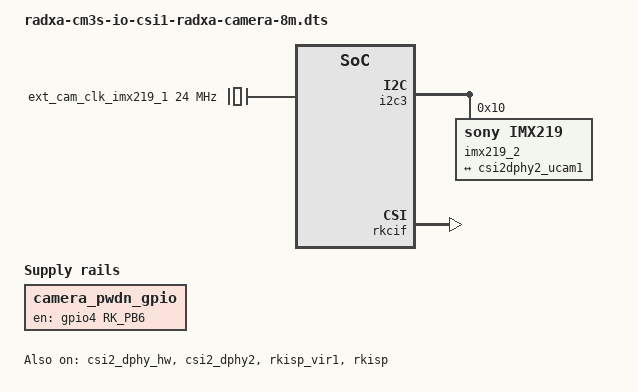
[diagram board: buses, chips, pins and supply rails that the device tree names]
/dts-v1/;
/plugin/;

#include <dt-bindings/gpio/gpio.h>
#include <dt-bindings/pinctrl/rockchip.h>

/ {
	metadata {
		title = "Enable Radxa Camera 8M 219 on CSI1";
		compatible = "radxa,cm3s-io", "radxa,radxa-cm3-sodimm-io";
		category = "camera";
		exclusive = "csi2_dphy2";
		description = "Enable Radxa Camera 8M 219 on CSI1.";
	};
};

&{/} {
	ext_cam_clk_imx219_1: ext-cam-clk-imx219-1 {
		status = "okay";
		compatible = "fixed-clock";
		clock-frequency = <24000000>;
		clock-output-names = "ext_cam_clk_imx219_1";
		#clock-cells = <0>;
	};

	camera_pwdn_gpio: camera-pwdn-gpio {
		status = "okay";
		compatible = "regulator-fixed";
		regulator-name = "camera_pwdn_gpio";
		regulator-always-on;
		regulator-boot-on;
		enable-active-high;
		gpio = <&gpio4 RK_PB6 GPIO_ACTIVE_HIGH>;
	};
};

&i2c3 {
	status = "okay";
	#address-cells = <1>;
				#size-cells = <0>;

	imx219_2: imx219@10 {
		status = "okay";
		compatible = "sony,imx219";
		reg = <0x10>;
		clocks = <&ext_cam_clk_imx219_1>;
		clock-names = "ext_cam_clk_imx219_1";
		rockchip,camera-module-index = <1>;
		rockchip,camera-module-facing = "back";
		rockchip,camera-module-name = "RADXA-CAMERA-8M";
		rockchip,camera-module-lens-name = "default";

		port {
			imx219_2_out: endpoint {
				remote-endpoint = <&csi2dphy2_ucam1>;
				data-lanes = <1 2>;
			};
		};
	};
};

&csi2_dphy_hw {
	status = "okay";
};

&csi2_dphy2 {
	status = "okay";

	ports {
		#address-cells = <1>;
		#size-cells = <0>;

		port@0 {
			reg = <0>;
			#address-cells = <1>;
			#size-cells = <0>;

			csi2dphy2_ucam1: endpoint@1 {
				reg = <1>;
				remote-endpoint = <&imx219_2_out>;
				data-lanes = <1 2>;
			};
		};

		port@1 {
			reg = <1>;
			#address-cells = <1>;
			#size-cells = <0>;

			csi2dphy2_out: endpoint@1 {
				reg = <1>;
				remote-endpoint = <&isp1_in>;
			};
		};
	};
};

&rkisp_vir1 {
	status = "okay";
	#address-cells = <1>;
	#size-cells = <0>;

	port {
		#address-cells = <1>;
		#size-cells = <0>;

		isp1_in: endpoint@0 {
			reg = <0>;
			remote-endpoint = <&csi2dphy2_out>;
		};
	};
};

&rkisp {
	status = "okay";
};

&rkisp_mmu {
	status = "okay";
};

&rkcif_mmu {
	status = "okay";
};

&rkcif {
	status = "okay";
};
